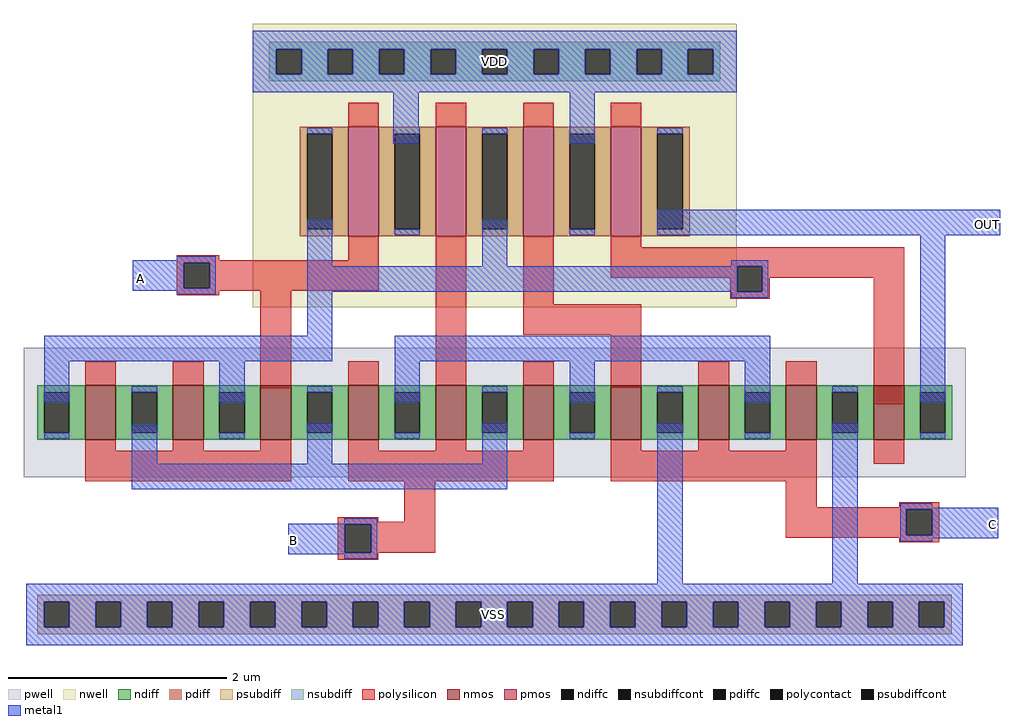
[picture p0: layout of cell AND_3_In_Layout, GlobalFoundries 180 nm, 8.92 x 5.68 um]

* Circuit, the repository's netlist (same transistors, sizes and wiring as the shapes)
* NGSPICE file created from AND_3_In_Layout.ext - technology: gf180mcuC

.subckt nmos_3p3_JCGST2 a_n28_n94# a_132_n94# a_n132_n50# a_n276_n50# a_188_n50# a_28_n50#
+ a_n188_n94# VSUBS
X0 a_28_n50# a_n28_n94# a_n132_n50# VSUBS nfet_03v3 ad=0.13p pd=1.02u as=0.13p ps=1.02u w=0.5u l=0.28u
X1 a_n132_n50# a_n188_n94# a_n276_n50# VSUBS nfet_03v3 ad=0.13p pd=1.02u as=0.22p ps=1.88u w=0.5u l=0.28u
X2 a_188_n50# a_132_n94# a_28_n50# VSUBS nfet_03v3 ad=0.22p pd=1.88u as=0.13p ps=1.02u w=0.5u l=0.28u
.ends

.subckt nmos_3p3_GGGST2 a_n28_n94# a_n116_n50# a_28_n50# VSUBS
X0 a_28_n50# a_n28_n94# a_n116_n50# VSUBS nfet_03v3 ad=0.22p pd=1.88u as=0.22p ps=1.88u w=0.5u l=0.28u
.ends

.subckt pmos_3p3_MNVUAR w_n202_n230# a_28_n100# a_n28_n144# a_n116_n100#
X0 a_28_n100# a_n28_n144# a_n116_n100# w_n202_n230# pfet_03v3 ad=0.44p pd=2.88u as=0.44p ps=2.88u w=1u l=0.28u
.ends

.subckt AND_3_In_Layout A B C OUT VDD VSS
Xnmos_3p3_JCGST2_0 C C VSS m1_677_137# VSS m1_677_137# C VSS nmos_3p3_JCGST2
Xnmos_3p3_JCGST2_1 A A m1_197_n22# a_1072_364# m1_197_n22# a_1072_364# A VSS nmos_3p3_JCGST2
Xnmos_3p3_JCGST2_2 B B m1_677_137# m1_197_n22# m1_677_137# m1_197_n22# B VSS nmos_3p3_JCGST2
Xnmos_3p3_GGGST2_0 a_1072_364# VSS OUT VSS nmos_3p3_GGGST2
Xpmos_3p3_MNVUAR_0 VDD a_1072_364# B VDD pmos_3p3_MNVUAR
Xpmos_3p3_MNVUAR_1 VDD VDD A a_1072_364# pmos_3p3_MNVUAR
Xpmos_3p3_MNVUAR_2 VDD OUT a_1072_364# VDD pmos_3p3_MNVUAR
Xpmos_3p3_MNVUAR_3 VDD VDD C a_1072_364# pmos_3p3_MNVUAR
.ends

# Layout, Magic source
magic
tech gf180mcuC
magscale 1 10
<< nwell >>
rect 418 770 1302 828
rect 418 723 1272 770
rect 418 703 1142 723
<< psubdiff >>
rect 24 -228 1695 -215
rect 24 -274 37 -228
rect 83 -274 131 -228
rect 177 -274 225 -228
rect 271 -274 319 -228
rect 365 -274 413 -228
rect 459 -274 507 -228
rect 553 -274 601 -228
rect 647 -274 695 -228
rect 741 -274 789 -228
rect 835 -274 883 -228
rect 929 -274 977 -228
rect 1023 -274 1071 -228
rect 1117 -274 1165 -228
rect 1211 -274 1259 -228
rect 1305 -274 1353 -228
rect 1399 -274 1447 -228
rect 1493 -274 1541 -228
rect 1587 -274 1635 -228
rect 1681 -274 1695 -228
rect 24 -287 1695 -274
<< nsubdiff >>
rect 448 782 1272 795
rect 448 736 461 782
rect 507 736 555 782
rect 601 736 649 782
rect 695 736 743 782
rect 789 736 837 782
rect 883 736 931 782
rect 977 736 1025 782
rect 1071 736 1119 782
rect 1165 736 1213 782
rect 1259 736 1272 782
rect 448 723 1272 736
<< psubdiffcont >>
rect 37 -274 83 -228
rect 131 -274 177 -228
rect 225 -274 271 -228
rect 319 -274 365 -228
rect 413 -274 459 -228
rect 507 -274 553 -228
rect 601 -274 647 -228
rect 695 -274 741 -228
rect 789 -274 835 -228
rect 883 -274 929 -228
rect 977 -274 1023 -228
rect 1071 -274 1117 -228
rect 1165 -274 1211 -228
rect 1259 -274 1305 -228
rect 1353 -274 1399 -228
rect 1447 -274 1493 -228
rect 1541 -274 1587 -228
rect 1635 -274 1681 -228
<< nsubdiffcont >>
rect 461 736 507 782
rect 555 736 601 782
rect 649 736 695 782
rect 743 736 789 782
rect 837 736 883 782
rect 931 736 977 782
rect 1025 736 1071 782
rect 1119 736 1165 782
rect 1213 736 1259 782
<< polysilicon >>
rect 279 396 357 405
rect 279 392 648 396
rect 279 345 292 392
rect 339 345 648 392
rect 279 340 648 345
rect 279 332 357 340
rect 432 162 488 340
rect 752 175 808 430
rect 912 316 968 430
rect 1072 385 1608 420
rect 1072 364 1303 385
rect 1290 339 1303 364
rect 1349 364 1608 385
rect 1349 339 1362 364
rect 1290 326 1362 339
rect 912 260 1128 316
rect 1072 163 1128 260
rect 1552 133 1608 364
rect 112 -8 488 48
rect 592 -8 968 48
rect 1072 -8 1448 48
rect 573 -82 647 -73
rect 695 -82 751 -8
rect 573 -86 751 -82
rect 573 -138 586 -86
rect 634 -138 751 -86
rect 1392 -55 1448 -8
rect 1599 -55 1672 -46
rect 1392 -59 1672 -55
rect 1392 -106 1612 -59
rect 1659 -106 1672 -59
rect 1392 -111 1672 -106
rect 1599 -119 1672 -111
rect 573 -151 647 -138
<< polycontact >>
rect 292 345 339 392
rect 1303 339 1349 385
rect 586 -138 634 -86
rect 1612 -106 1659 -59
<< metal1 >>
rect 418 782 1302 815
rect 418 736 461 782
rect 507 736 555 782
rect 601 736 649 782
rect 695 736 743 782
rect 789 736 837 782
rect 883 736 931 782
rect 977 736 1025 782
rect 1071 736 1119 782
rect 1165 736 1213 782
rect 1259 736 1302 782
rect 418 703 1302 736
rect 675 609 721 703
rect 997 609 1043 703
rect 279 396 350 403
rect 199 392 350 396
rect 199 345 292 392
rect 339 345 350 392
rect 199 340 350 345
rect 279 334 350 340
rect 517 385 563 470
rect 837 385 883 470
rect 1157 442 1783 488
rect 1292 385 1360 396
rect 517 339 1303 385
rect 1349 339 1360 385
rect 517 258 563 339
rect 1292 328 1360 339
rect 37 212 563 258
rect 677 212 1363 258
rect 37 137 83 212
rect 357 137 403 212
rect 677 137 723 212
rect 997 137 1043 212
rect 1317 137 1363 212
rect 1637 137 1683 442
rect 197 24 243 96
rect 517 24 563 98
rect 837 24 883 98
rect 197 -22 883 24
rect 585 -85 645 -75
rect 483 -86 645 -85
rect 483 -138 586 -86
rect 634 -138 645 -86
rect 483 -141 645 -138
rect 585 -149 645 -141
rect 1157 -195 1203 98
rect 1477 -195 1523 98
rect 1601 -56 1659 -48
rect 1601 -59 1780 -56
rect 1601 -106 1612 -59
rect 1659 -106 1780 -59
rect 1601 -112 1780 -106
rect 1601 -117 1659 -112
rect 4 -228 1715 -195
rect 4 -274 37 -228
rect 83 -274 131 -228
rect 177 -274 225 -228
rect 271 -274 319 -228
rect 365 -274 413 -228
rect 459 -274 507 -228
rect 553 -274 601 -228
rect 647 -274 695 -228
rect 741 -274 789 -228
rect 835 -274 883 -228
rect 929 -274 977 -228
rect 1023 -274 1071 -228
rect 1117 -274 1165 -228
rect 1211 -274 1259 -228
rect 1305 -274 1353 -228
rect 1399 -274 1447 -228
rect 1493 -274 1541 -228
rect 1587 -274 1635 -228
rect 1681 -274 1715 -228
rect 4 -307 1715 -274
use nfet_03v3_NULYT4  nfet_03v3_NULYT4_0
transform 1 0 1580 0 1 118
box -140 -118 140 118
use nmos_3p3_JCGST2  nmos_3p3_JCGST2_0
transform 1 0 1260 0 1 118
box -300 -118 300 118
use nmos_3p3_JCGST2  nmos_3p3_JCGST2_1
transform 1 0 300 0 1 118
box -300 -118 300 118
use nmos_3p3_JCGST2  nmos_3p3_JCGST2_2
transform 1 0 780 0 1 118
box -300 -118 300 118
use pmos_3p3_MNVUAR  pmos_3p3_MNVUAR_0 ~/GF180Projects/Tapeout/Magic/Logic_Gates/AND_2_Input
transform 1 0 780 0 1 540
box -202 -230 202 230
use pmos_3p3_MNVUAR  pmos_3p3_MNVUAR_1
transform 1 0 620 0 1 540
box -202 -230 202 230
use pmos_3p3_MNVUAR  pmos_3p3_MNVUAR_2
transform 1 0 1100 0 1 540
box -202 -230 202 230
use pmos_3p3_MNVUAR  pmos_3p3_MNVUAR_3
transform 1 0 940 0 1 540
box -202 -230 202 230
<< labels >>
flabel metal1 493 -115 493 -115 0 FreeSans 320 0 0 0 B
port 2 nsew
flabel metal1 1760 462 1760 462 0 FreeSans 320 0 0 0 OUT
port 5 nsew
flabel nsubdiffcont 860 759 860 759 0 FreeSans 320 0 0 0 VDD
port 6 nsew
flabel psubdiff 858 -251 858 -251 0 FreeSans 320 0 0 0 VSS
port 8 nsew
flabel metal1 1770 -86 1770 -86 0 FreeSans 320 180 0 0 C
port 3 nsew
flabel metal1 213 362 213 362 0 FreeSans 320 0 0 0 A
port 1 nsew
<< end >>

# cell nfet_03v3_NULYT4: kit device nfet_03v3, w 0.5 l 0.280 m 1 nf 1 diffcov 100 polycov 100 guard 0 glc 0 grc 0 gtc 0 gbc 0 tbcov 100 rlcov 100 topc 0 botc 0 poverlap 0 doverlap 1 lmin 0.28 wmin 0.22 full_metal 0 compatible {nfet_03v3 nfet_06v0 nfet_06v0_nvt}

# cell nmos_3p3_JCGST2: kit device nmos_3p3, w 0.5 l 0.280 m 1 nf 3 diffcov 100 polycov 100 guard 0 glc 0 grc 0 gtc 0 gbc 0 tbcov 100 rlcov 100 topc 0 botc 0 poverlap 0 doverlap 1 lmin 0.28 wmin 0.22 full_metal 0 compatible {nmos_3p3 nmos_6p0 nmos_6p0_nat}

# cell pmos_3p3_MNVUAR: kit device pmos_3p3, w 1 l 0.280 m 1 nf 1 diffcov 100 polycov 100 guard 0 glc 0 grc 0 gtc 0 gbc 0 tbcov 100 rlcov 100 topc 0 botc 0 poverlap 0 doverlap 1 lmin 0.28 wmin 0.22 full_metal 0 compatible {pmos_3p3 pmos_6p0}
